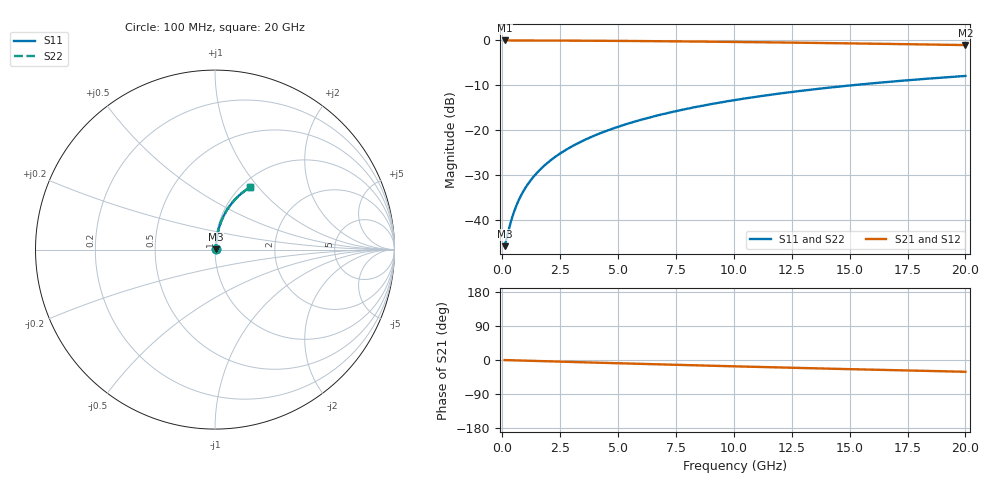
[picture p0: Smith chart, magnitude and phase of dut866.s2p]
! Touchstone file exported from HFSS 2024.1.0
!  File:  C:/UserFiles/LocalFiles/RDL_TSV_Batchsim/temp_RDL_bottom_866_1779864815.aedt
!  Generated:  02:56:18 PM May 27, 2026
!  Design:  RDL_bottom
!  Project:  temp_RDL_bottom_866_1779864815
!  Setup:  Setup1
!  Solution:  Sweep
! Variables:
!  dtsv = 10.80580581um
!  hbump = 3um
!  htsv = 80um
!  ldown = 327.72um
!  lrdl = 100um
!  p = 40
!  p1 = 55.06um
!  rhole = 1um
!  t = 450um
!  tdown = 2.32um
!  trdl = 3.915915916um
!  wdown = 11.42um
!  wrdl = 20um
# GHz S MA R 50.000000
! Terminal data exported
! Port[1] = RDL1_T1
! Port[2] = RDL1_T2
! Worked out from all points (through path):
!   200 points, 100 MHz to 20 GHz, reference 50 ohm
!   highest |S21| = -0.04 dB at 100 MHz (marker M1); lowest = -1.1 dB at 20 GHz (marker M2)
!   group delay of S21, straight-line fit = 4.32 ps
!   lowest |S11| = -45.9 dB at 100 MHz (marker M3), VSWR 1.01, Z = 50.5 + j0.226 ohm
!   |S11| at or under -10 dB: start of sweep to 15.15 GHz
!   |S22| runs from -45.9 to -8.0 dB; largest |S21 - S12| = 2.7e-15
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0.1  0.005077 26.2  0.9954 -0.2  0.9954 -0.2  0.005077 26.2
! Gamma 0 0 0 0
! Port Impedance 50 0 50 0
0.3  0.008156 55.3  0.9953 -0.5  0.9953 -0.5  0.008157 55.3
0.4  0.0101 62.2  0.9953 -0.7  0.9953 -0.7  0.0101 62.2
0.5  0.01213 66.7  0.9952 -0.9  0.9952 -0.9  0.01213 66.7
0.6  0.01421 69.8  0.9951 -1.1  0.9951 -1.1  0.01421 69.8
0.7  0.01632 72.1  0.995 -1.2  0.995 -1.2  0.01632 72.1
0.9  0.02057 75.1  0.9947 -1.6  0.9947 -1.6  0.02057 75.1
1.2  0.02697 77.7  0.9943 -2.1  0.9943 -2.1  0.02697 77.7
1.4  0.03124 78.8  0.994 -2.5  0.994 -2.5  0.03124 78.8
1.7  0.03766 79.8  0.9936 -3.0  0.9936 -3.0  0.03766 79.8
2.2  0.04836 80.8  0.9927 -3.8  0.9927 -3.8  0.04836 80.8
2.8  0.06124 81.2  0.9914 -4.9  0.9914 -4.9  0.06124 81.2
3.5  0.07631 81.2  0.9895 -6.1  0.9895 -6.1  0.07631 81.2
4.2  0.09141 80.9  0.9873 -7.2  0.9873 -7.2  0.0914 80.9
5  0.1087 80.3  0.9845 -8.6  0.9845 -8.6  0.1087 80.3
5.9  0.1281 79.4  0.9807 -10.1  0.9807 -10.1  0.1281 79.4
6.8  0.1474 78.4  0.9766 -11.6  0.9766 -11.6  0.1474 78.4
8.3  0.1793 76.5  0.9687 -14.0  0.9687 -14.0  0.1793 76.5
10.1  0.2169 74.1  0.958 -16.8  0.958 -16.8  0.2169 74.1
13.4  0.283 69.5  0.9357 -21.8  0.9357 -21.8  0.283 69.5
16.7  0.3443 64.9  0.9107 -26.6  0.9107 -26.6  0.3443 64.9
20  0.4003 60.5  0.8842 -31.0  0.8842 -31.0  0.4002 60.5
